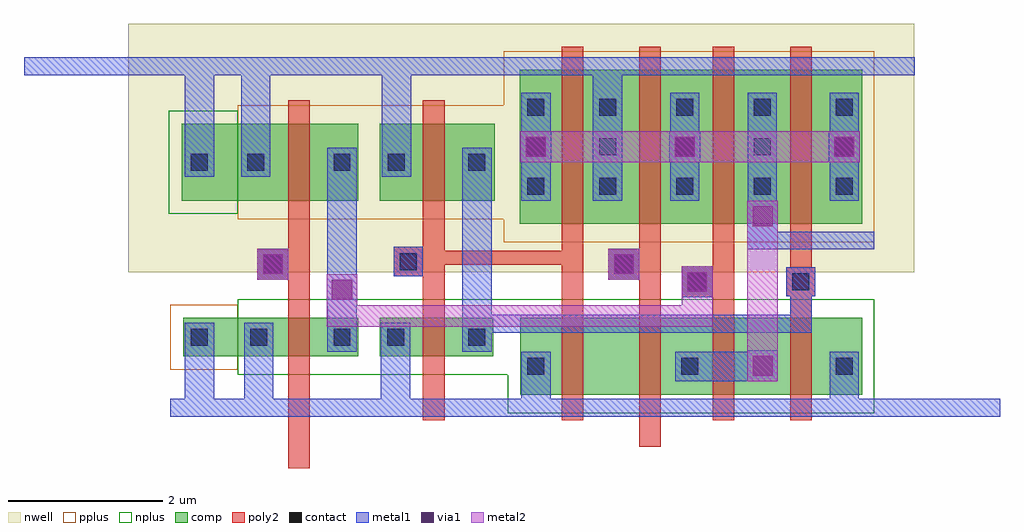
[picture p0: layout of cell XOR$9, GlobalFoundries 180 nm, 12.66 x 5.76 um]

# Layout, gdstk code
import gdstk
lib = gdstk.Library(unit=1e-6, precision=5e-09)
def R(c, l, rs):  # rectangles x0, y0, x1, y1
    for r in rs: c.add(gdstk.rectangle(r[:2], r[2:], *l))
def A(c, l, x, y, w, h, nx, ny, dx, dy):  # array of equal rectangles
    R(c, l, [(x+i*dx, y+j*dy, x+i*dx+w, y+j*dy+h) for i in range(nx) for j in range(ny)])
nwell = (21, 0)
comp = (22, 0)
poly2 = (30, 0)
pplus = (31, 0)
nplus = (32, 0)
contact = (33, 0)
metal1 = (34, 0)
via1 = (35, 0)
metal2 = (36, 0)

via_dev_1_11 = lib.new_cell('via_dev$1$11')
R(via_dev_1_11, metal1, [(0,0,0.4,0.4)])
R(via_dev_1_11, via1, [(0.07,0.07,0.33,0.33)])
R(via_dev_1_11, metal2, [(0,0,0.4,0.4)])

via_dev_16 = lib.new_cell('via_dev$16')
R(via_dev_16, poly2, [(0,0,0.4,0.4)])
R(via_dev_16, contact, [(0.09,0.09,0.31,0.31)])
R(via_dev_16, metal1, [(0,0,0.4,0.4)])
R(via_dev_16, via1, [(0.07,0.07,0.33,0.33)])
R(via_dev_16, metal2, [(0,0,0.4,0.4)])

xor_9 = lib.new_cell('XOR$9')
R(xor_9, nwell, [(-1.55,1.405,8.645,4.63)])
R(xor_9, comp, [(3.53,-0.185,3.945,0.815), (3.945,-0.185,4.4,0.815), (4.4,-0.185,4.82,0.815), (4.82,-0.185,5.52,0.815), (5.31,-0.185,5.96,0.815), (5.96,-0.185,6.41,0.815), (6.41,-0.185,6.83,0.815), (6.83,-0.185,7.525,0.815), (7.525,-0.185,7.965,0.815), (-0.84,0.315,-0.13,0.815), (-0.13,0.315,0.35,0.815), (0.35,0.315,1.01,0.815), (1.01,0.315,1.43,0.815), (1.71,0.315,2.125,0.815), (2.125,0.315,2.76,0.815), (2.76,0.315,3.18,0.815), (3.525,2.035,3.965,4.035), (3.965,2.035,4.435,4.035), (4.435,2.035,4.895,4.035), (4.895,2.035,5.43,4.035), (5.43,2.035,5.92,4.035), (5.92,2.035,6.44,4.035), (6.44,2.035,6.9,4.035), (6.44,2.035,6.9,4.035), (6.9,2.035,7.505,4.035), (7.505,2.035,7.965,4.035), (-0.86,2.335,-0.13,3.335), (-0.13,2.335,0.33,3.335), (0.33,2.335,0.99,3.335), (0.99,2.335,1.43,3.335), (1.71,2.335,2.155,3.335), (2.155,2.335,2.74,3.335), (2.74,2.335,3.2,3.335)])
R(xor_9, poly2, [(0.52,-1.135,0.8,3.635), (5.075,-0.855,5.355,4.335), (2.27,-0.515,2.55,3.635), (4.07,-0.515,4.35,4.33), (6.03,-0.515,6.31,4.335), (7.035,-0.515,7.315,4.335), (6.98,1.095,7.36,1.475), (1.89,1.355,2.27,1.735), (2.55,1.505,4.07,1.685)])
R(xor_9, pplus, [(-1.01,0.145,-0.13,0.985), (3.32,1.795,8.125,4.275), (-0.13,2.095,1.635,3.575), (1.635,2.095,3.32,3.575)])
R(xor_9, nplus, [(3.37,-0.425,8.125,1.055), (-0.13,0.075,1.655,1.055), (1.655,0.075,3.37,1.055), (-1.03,2.165,-0.13,3.505)])
A(xor_9, contact, 3.625, 2.415, 0.22, 0.22, 1, 3, 0, 0.51)
A(xor_9, contact, 4.555, 2.415, 0.22, 0.22, 1, 3, 0, 0.51)
A(xor_9, contact, 5.555, 2.415, 0.22, 0.22, 1, 3, 0, 0.51)
A(xor_9, contact, 6.56, 2.415, 0.22, 0.22, 1, 3, 0, 0.51)
A(xor_9, contact, 7.625, 2.415, 0.22, 0.22, 1, 3, 0, 0.51)
R(xor_9, contact, [(3.625,0.075,3.845,0.295), (5.62,0.075,5.84,0.295), (7.625,0.075,7.845,0.295), (-0.74,0.455,-0.52,0.675), (0.03,0.455,0.25,0.675), (1.11,0.455,1.33,0.675), (1.805,0.455,2.025,0.675), (2.86,0.455,3.08,0.675), (7.06,1.175,7.28,1.395), (1.97,1.435,2.19,1.655), (-0.74,2.725,-0.52,2.945), (-0.01,2.725,0.21,2.945), (1.11,2.725,1.33,2.945), (1.815,2.725,2.035,2.945), (2.86,2.725,3.08,2.945)])
R(xor_9, metal1, [(-1.01,-0.465,-0.05,-0.235), (-0.05,-0.465,9.755,-0.235), (-0.82,-0.235,-0.44,0.375), (-0.05,-0.235,0.33,0.375), (1.725,-0.235,2.105,0.375), (3.545,-0.235,3.925,-0.005), (7.545,-0.235,7.925,-0.005), (3.545,-0.005,3.925,0.375), (5.54,-0.005,5.92,0.375), (5.92,-0.005,6.475,0.375), (7.545,-0.005,7.925,0.375), (-0.82,0.375,-0.44,0.755), (-0.05,0.375,0.33,0.755), (1.03,0.375,1.41,0.755), (1.725,0.375,2.105,0.755), (2.78,0.375,3.16,0.755), (3.16,0.625,7.035,0.855), (7.035,0.625,7.315,1.105), (1.03,0.755,1.41,2.645), (2.78,0.755,3.16,2.645), (6.98,1.095,7.36,1.475), (1.89,1.355,2.27,1.735), (6.475,1.705,8.125,1.935), (3.545,2.335,3.925,3.735), (4.475,2.335,4.855,3.735), (5.475,2.335,5.855,3.735), (6.48,2.335,6.86,3.735), (7.545,2.335,7.925,3.735), (-0.82,2.645,-0.44,3.025), (-0.09,2.645,0.29,3.025), (1.03,2.645,1.41,3.025), (1.735,2.645,2.115,3.025), (2.78,2.645,3.16,3.025), (-0.82,3.025,-0.44,3.965), (-0.09,3.025,0.29,3.965), (1.735,3.025,2.115,3.965), (4.475,3.735,4.855,3.965), (-2.905,3.965,8.65,4.195)])
R(xor_9, metal2, [(6.475,0.395,6.875,1.935), (1.02,0.7,6.03,0.98), (5.63,0.98,6.03,1.085), (3.935,2.835,7.535,3.235)])
xor_9.add(gdstk.Reference(via_dev_1_11, (6.475,1.935)))
xor_9.add(gdstk.Reference(via_dev_1_11, (1.02,0.98)))
xor_9.add(gdstk.Reference(via_dev_1_11, (6.475,-0.005)))
xor_9.add(gdstk.Reference(via_dev_16, (5.63,1.085)))
xor_9.add(gdstk.Reference(via_dev_1_11, (3.535,2.835)))
xor_9.add(gdstk.Reference(via_dev_1_11, (5.465,2.835)))
xor_9.add(gdstk.Reference(via_dev_1_11, (7.535,2.835)))
xor_9.add(gdstk.Reference(via_dev_16, (4.675,1.31)))
xor_9.add(gdstk.Reference(via_dev_16, (0.12,1.31)))

lib.write_gds('XOR_9.gds')
